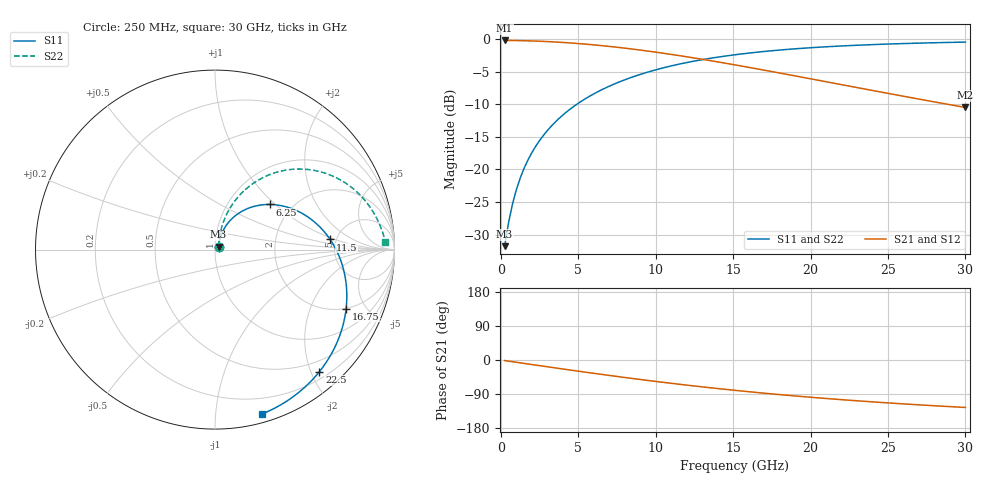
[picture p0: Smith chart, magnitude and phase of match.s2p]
! matching network, 2-port
# Hz S RI R 50
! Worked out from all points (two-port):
!   120 points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, 250 MHz to 30 GHz, reference 50 ohm
!   highest |S21| = -0.17 dB at 250 MHz (marker M1); lowest = -10.5 dB at 30 GHz (marker M2)
!   |S21| within 3 dB of the highest: start of sweep to 13.27 GHz
!   lowest |S11| = -31.8 dB at 250 MHz (marker M3), VSWR 1.05, Z = 52 + j1.66 ohm
!   |S11| at or under -10 dB: start of sweep to 4.903 GHz
!   |S22| runs from -31.8 to -0.4 dB; largest |S21 - S12| = 0
!   S11 on the Smith chart (normalised r, x): 250 MHz: 1.04, +0.03; 6.25 GHz: 1.54, +0.92; 11.5 GHz: 4.44, +0.86; 16.75 GHz: 1.99, -3.64; 22.5 GHz: 0.31, -2.13; 30 GHz: 0.07, -1.33
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2.5e8  0.0202 0.016  0.9799 -0.0255  0.9799 -0.0255  0.0199 0.0162
5e8  0.0218 0.0319  0.9785 -0.051  0.9785 -0.051  0.0208 0.0325
7.5e8  0.0246 0.0477  0.9762 -0.0764  0.9762 -0.0764  0.0222 0.0486
1e9  0.0284 0.0633  0.9729 -0.1017  0.9729 -0.1017  0.0243 0.0647
1.5e9  0.0393 0.0936  0.9636 -0.1517  0.9636 -0.1517  0.0301 0.0966
2e9  0.0544 0.1224  0.9508 -0.2006  0.9508 -0.2006  0.0382 0.1279
2.75e9  0.0841 0.1618  0.9251 -0.2714  0.9251 -0.2714  0.0544 0.1733
3.5e9  0.1217 0.1952  0.8923 -0.3382  0.8923 -0.3382  0.0752 0.2164
5.25e9  0.2322 0.2442  0.7925 -0.4736  0.7925 -0.4736  0.1395 0.3053
6.25e9  0.3041 0.2515  0.7242 -0.536  0.7242 -0.536  0.1842 0.3473
8.25e9  0.4501 0.2193  0.5743 -0.6249  0.5743 -0.6249  0.2849 0.4095
1.025e10  0.5782 0.1322  0.4213 -0.6675  0.4213 -0.6675  0.3922 0.4422
1.15e10  0.6413 0.0567  0.3305 -0.6735  0.3305 -0.6735  0.4586 0.4487
1.325e10  0.7026 -0.066  0.215 -0.6606  0.215 -0.6606  0.5469 0.4423
1.525e10  0.733 -0.2166  0.1035 -0.6236  0.1035 -0.6236  0.6377 0.4171
1.675e10  0.7305 -0.3283  0.0351 -0.586  0.0351 -0.586  0.6975 0.3889
1.85e10  0.7045 -0.4508  -0.0289 -0.5365  -0.0289 -0.5365  0.7576 0.349
2.025e10  0.6592 -0.5608  -0.0777 -0.4849  -0.0777 -0.4849  0.8079 0.3043
2.25e10  0.5812 -0.6806  -0.1217 -0.4199  -0.1217 -0.4199  0.8593 0.2431
2.525e10  0.469 -0.7938  -0.1537 -0.3471  -0.1537 -0.3471  0.9048 0.1668
2.75e10  0.3718 -0.8615  -0.1671 -0.2948  -0.1671 -0.2948  0.9306 0.1055
3e10  0.2646 -0.9146  -0.1728 -0.2447  -0.1728 -0.2447  0.9497 0.04
